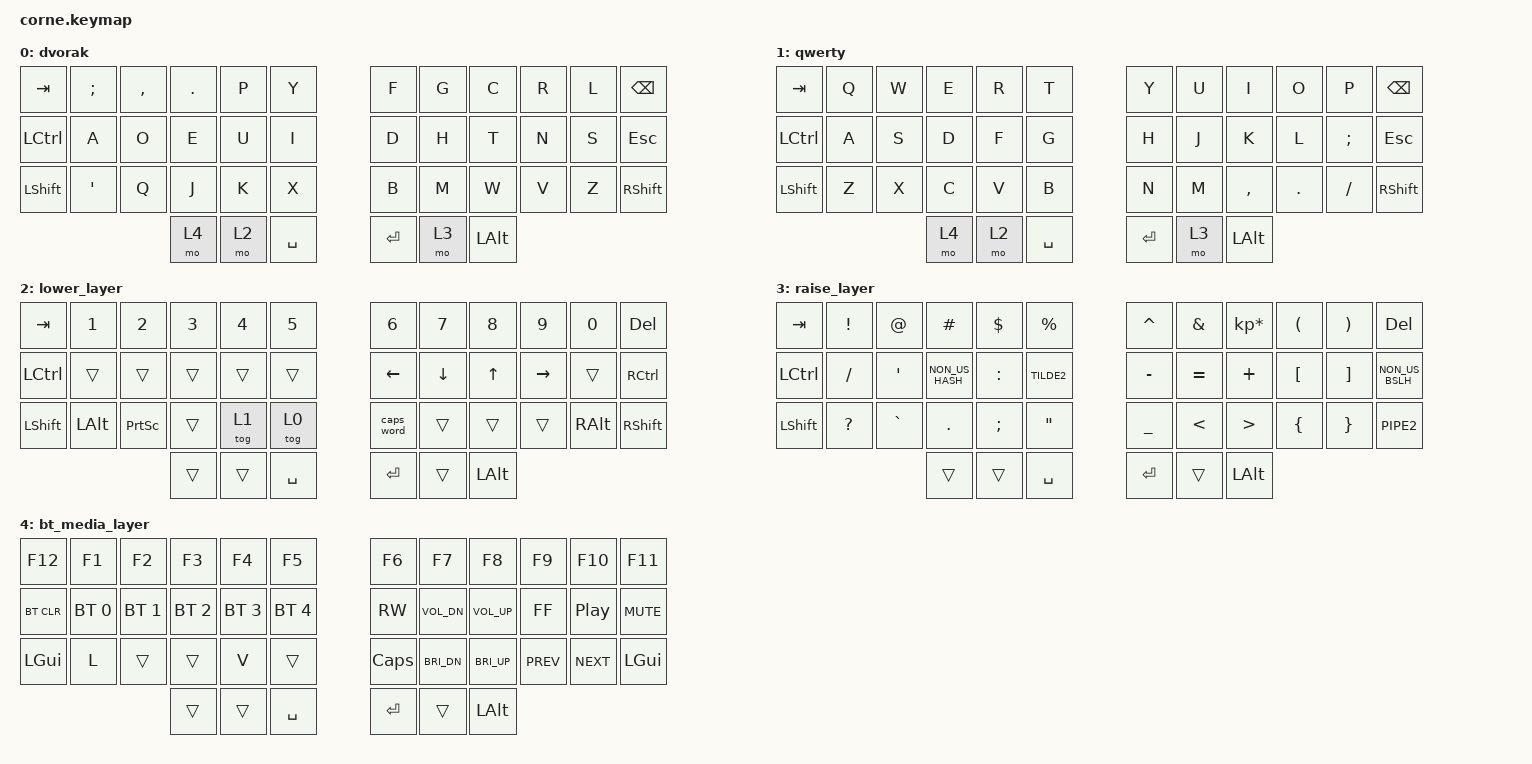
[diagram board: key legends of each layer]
/*
 * Copyright (c) 2020 The ZMK Contributors
 *
 * SPDX-License-Identifier: MIT
 */

#include <behaviors.dtsi>
#include <dt-bindings/zmk/bt.h>
#include <dt-bindings/zmk/keys.h>

/ {
    keymap {
        compatible = "zmk,keymap";

        dvorak {
            // -----------------------------------------------------------------------------------------
            // | TAB  | ; : |  ,  |  .   |  P  |  Y  |   |  F  |  G   |  C  |  R  |  L  | BKSP  |
            // | CTRL |  A  |  O  |  E   |  U  |  I  |   |  D  |  H   |  T  |  N  |  S  | ESC   |
            // | SHFT | ' " |  Q  |  J   |  K  |  X  |   |  B  |  M   |  W  |  V  |  Z  | SHIFT |
            //                    | BTML | LWR | SPC |   | ENT | RSE  | ALT |

            bindings = <
&kp TAB     &kp SEMI  &kp COMMA  &kp DOT  &kp P  &kp Y        &kp F    &kp G  &kp C     &kp R  &kp L  &kp BSPC
&kp LCTRL   &kp A     &kp O      &kp E    &kp U  &kp I        &kp D    &kp H  &kp T     &kp N  &kp S  &kp ESC
&kp LSHIFT  &kp APOS  &kp Q      &kp J    &kp K  &kp X        &kp B    &kp M  &kp W     &kp V  &kp Z  &kp RSHIFT
                                 &mo 4    &mo 2  &kp SPACE    &kp RET  &mo 3  &kp LALT
            >;
        };

        qwerty {
            // -----------------------------------------------------------------------------------------
            // |  TAB |  Q  |  W  |  E   |  R  |  T  |   |  Y  |  U   |  I  |  O  |  P  | BKSP  |
            // | CTRL |  A  |  S  |  D   |  F  |  G  |   |  H  |  J   |  K  |  L  |  ;  | ESC   |
            // | SHFT |  Z  |  X  |  C   |  V  |  B  |   |  N  |  M   |  ,  |  .  |  /  | SHIFT |
            //                    | LYR3 | LWR | SPC |   | ENT | RSE  | ALT |

            bindings = <
&kp TAB    &kp Q  &kp W  &kp E  &kp R  &kp T        &kp Y    &kp U  &kp I      &kp O    &kp P     &kp BSPC
&kp LCTRL  &kp A  &kp S  &kp D  &kp F  &kp G        &kp H    &kp J  &kp K      &kp L    &kp SEMI  &kp ESC
&kp LSHFT  &kp Z  &kp X  &kp C  &kp V  &kp B        &kp N    &kp M  &kp COMMA  &kp DOT  &kp FSLH  &kp RSHIFT
                         &mo 4  &mo 2  &kp SPACE    &kp RET  &mo 3  &kp LALT
            >;
        };

        lower_layer {
            // -----------------------------------------------------------------------------------------
            // |  TAB |  1   |  2    |  3  |  4     |  5     |   |  6   |  7  |  8  |  9  |  0   | BKSP |
            // | CTRL |      |       |     |        |        |   | LFT  | DWN |  UP | RGT |      | CTRL |
            // | SHFT | LALT | PSCRN |     | QWERTY | DVORAK |   | CAPS |     |     |     | RALT | SHFT |
            //                       |     |        | SPC    |   | ENT  |     | ALT |

            bindings = <
&kp TAB    &kp N1    &kp N2     &kp N3  &kp N4  &kp N5       &kp N6      &kp N7    &kp N8    &kp N9     &kp N0    &kp DELETE
&kp LCTRL  &trans    &trans     &trans  &trans  &trans       &kp LEFT    &kp DOWN  &kp UP    &kp RIGHT  &trans    &kp RCTRL
&kp LSHFT  &kp LALT  &kp PSCRN  &trans  &tog 1  &tog 0       &caps_word  &trans    &trans    &trans     &kp RALT  &kp RSHIFT
                                &trans  &trans  &kp SPACE    &kp RET     &trans    &kp LALT
            >;
        };

        raise_layer {
            // -----------------------------------------------------------------------------------------
            // |  TAB |  !  |  "  |  £  |  $  |  %  |   |  ^  |  &  |  *  |  (  |  )  | BKSP |
            // | CTRL |  /  |  '  |  #  |  :  |  ~  |   |  -  |  =  |  +  |  [  |  ]  |  \   |
            // | SHFT |  ?  |  `  |  .  |  ;  |  @  |   |  _  |  <  |  >  |  {  |  }  | "|"  |
            //                    |     |     | SPC |   | ENT |     | ALT |

            bindings = <
&kp TAB    &kp EXCL   &kp AT     &kp POUND        &kp DLLR       &kp PRCNT     &kp CARET  &kp AMPS   &kp KP_MULTIPLY  &kp LPAR  &kp RPAR  &kp DEL
&kp LCTRL  &kp FSLH   &kp SQT    &kp NON_US_HASH  &kp COLON      &kp TILDE2    &kp MINUS  &kp EQUAL  &kp PLUS         &kp LBKT  &kp RBKT  &kp NON_US_BSLH
&kp LSHFT  &kp QMARK  &kp GRAVE  &kp DOT          &kp SEMICOLON  &kp DQT       &kp UNDER  &kp LT     &kp GT           &kp LBRC  &kp RBRC  &kp PIPE2
                                 &trans           &trans         &kp SPACE     &kp RET    &trans     &kp LALT
            >;
        };

        bt_media_layer {
            // -----------------------------------------------------------------------------------------
            // | F12  | F1   | F2   | F3   | F4   | F5   |   | F6   | F7     | F8    | F9   | F10  | F11  |
            // | BT_C | BT_0 | BT_1 | BT_2 | BT_3 | BT_4 |   | REW  | VOL_D  | VOL_U | FF   | PP   | MUTE |
            // | WINK | L    |      |      | V    |      |   | CAPS | BRI_DN | BRI_U | PREV | NEXT | WINK |
            //                      |      |      | SPC  |   | ENT  |        | ALT   |

            bindings = <
&kp F12     &kp F1        &kp F2        &kp F3        &kp F4        &kp F5          &kp F6    &kp F7        &kp F8        &kp F9      &kp F10           &kp F11
&bt BT_CLR  &bt BT_SEL 0  &bt BT_SEL 1  &bt BT_SEL 2  &bt BT_SEL 3  &bt BT_SEL 4    &kp C_RW  &kp C_VOL_DN  &kp C_VOL_UP  &kp C_FF    &kp C_PLAY_PAUSE  &kp C_MUTE
&kp LGUI    &kp L         &trans        &trans        &kp V         &trans          &kp CLCK  &kp C_BRI_DN  &kp C_BRI_UP  &kp C_PREV  &kp C_NEXT        &kp LGUI
                                        &trans        &trans        &kp SPACE       &kp RET   &trans        &kp LALT
            >;
        };
    };
};
